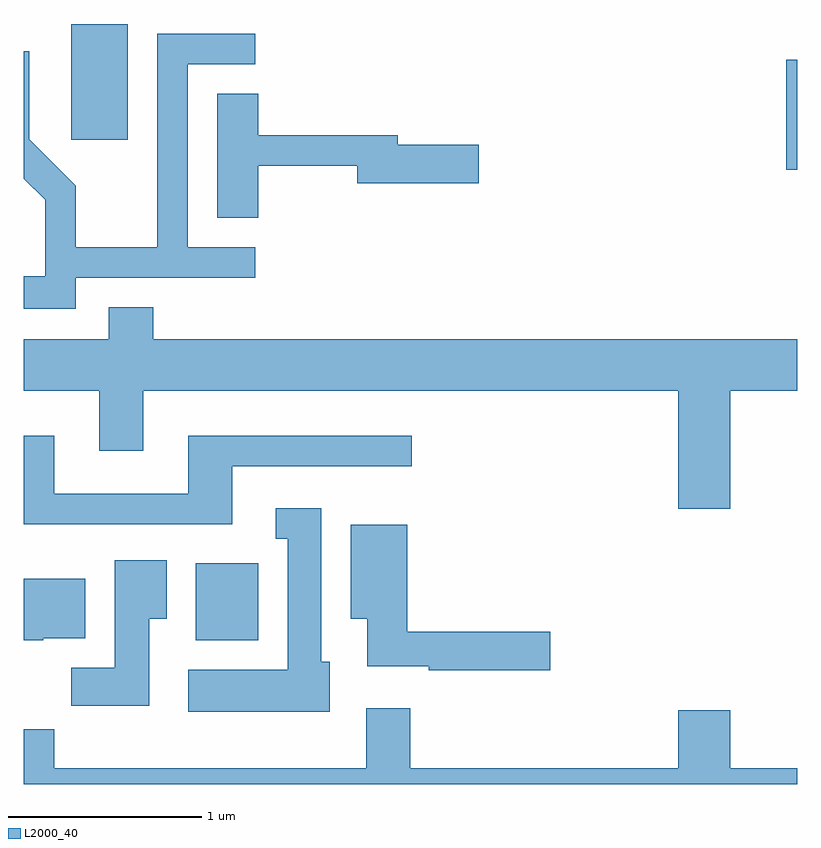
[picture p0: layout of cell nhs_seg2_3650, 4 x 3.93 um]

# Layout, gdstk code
import gdstk
lib = gdstk.Library(unit=1e-6, precision=1e-09)
def R(c, l, rs):  # rectangles x0, y0, x1, y1
    for r in rs: c.add(gdstk.rectangle(r[:2], r[2:], *l))
def P(c, l, *ps):  # polygons
    for p in ps: c.add(gdstk.Polygon(p, *l))
L2000_40 = (2000, 40)

nhs_seg2_3650 = lib.new_cell('nhs_seg2_3650')
R(nhs_seg2_3650, L2000_40, [(292.501,1082.546,292.824,1082.944), (295.556,1084.981,295.611,1085.549), (291.856,1085.136,292.149,1085.734)])
P(nhs_seg2_3650, L2000_40, [(291.879,1084.421),(292.808,1084.421),(292.808,1084.579),(292.459,1084.579),(292.459,1085.526),(292.808,1085.526),(292.808,1085.684),(292.301,1085.684),(292.301,1084.579),(291.879,1084.579),(291.879,1084.897),(291.639,1085.137),(291.639,1085.593),(291.611,1085.593),(291.611,1084.934),(291.721,1084.824),(291.721,1084.429),(291.611,1084.429),(291.611,1084.261),(291.879,1084.261)],
  [(292.824,1085.001),(293.336,1085.001),(293.336,1084.911),(293.964,1084.911),(293.964,1085.109),(293.544,1085.109),(293.544,1085.159),(292.824,1085.159),(292.824,1085.374),(292.611,1085.374),(292.611,1084.731),(292.824,1084.731)],
  [(295.264,1083.836),(295.611,1083.836),(295.611,1084.104),(292.279,1084.104),(292.279,1084.269),(292.051,1084.269),(292.051,1084.104),(291.611,1084.104),(291.611,1083.836),(292.001,1083.836),(292.001,1083.526),(292.229,1083.526),(292.229,1083.836),(294.996,1083.836),(294.996,1083.226),(295.264,1083.226)],
  [(292.689,1083.446),(293.618,1083.446),(293.618,1083.604),(292.461,1083.604),(292.461,1083.304),(291.769,1083.304),(291.769,1083.604),(291.611,1083.604),(291.611,1083.146),(292.689,1083.146)],
  [(293.194,1082.434),(293.149,1082.434),(293.149,1083.229),(292.913,1083.229),(292.913,1083.071),(292.976,1083.071),(292.976,1082.394),(292.461,1082.394),(292.461,1082.176),(293.194,1082.176)],
  [(294.334,1082.589),(293.594,1082.589),(293.594,1083.144),(293.301,1083.144),(293.301,1082.656),(293.386,1082.656),(293.386,1082.411),(293.706,1082.411),(293.706,1082.391),(294.334,1082.391)],
  [(292.259,1082.656),(292.349,1082.656),(292.349,1082.959),(292.081,1082.959),(292.081,1082.404),(291.856,1082.404),(291.856,1082.206),(292.259,1082.206)],
  [(291.71,1082.556),(291.929,1082.556),(291.929,1082.864),(291.611,1082.864),(291.611,1082.546),(291.71,1082.546)],
  [(295.611,1081.884),(295.264,1081.884),(295.264,1082.184),(294.996,1082.184),(294.996,1081.884),(293.609,1081.884),(293.609,1082.194),(293.381,1082.194),(293.381,1081.884),(291.769,1081.884),(291.769,1082.084),(291.611,1082.084),(291.611,1081.802),(295.611,1081.802)])

lib.write_gds('nhs_seg2_3650.gds')
